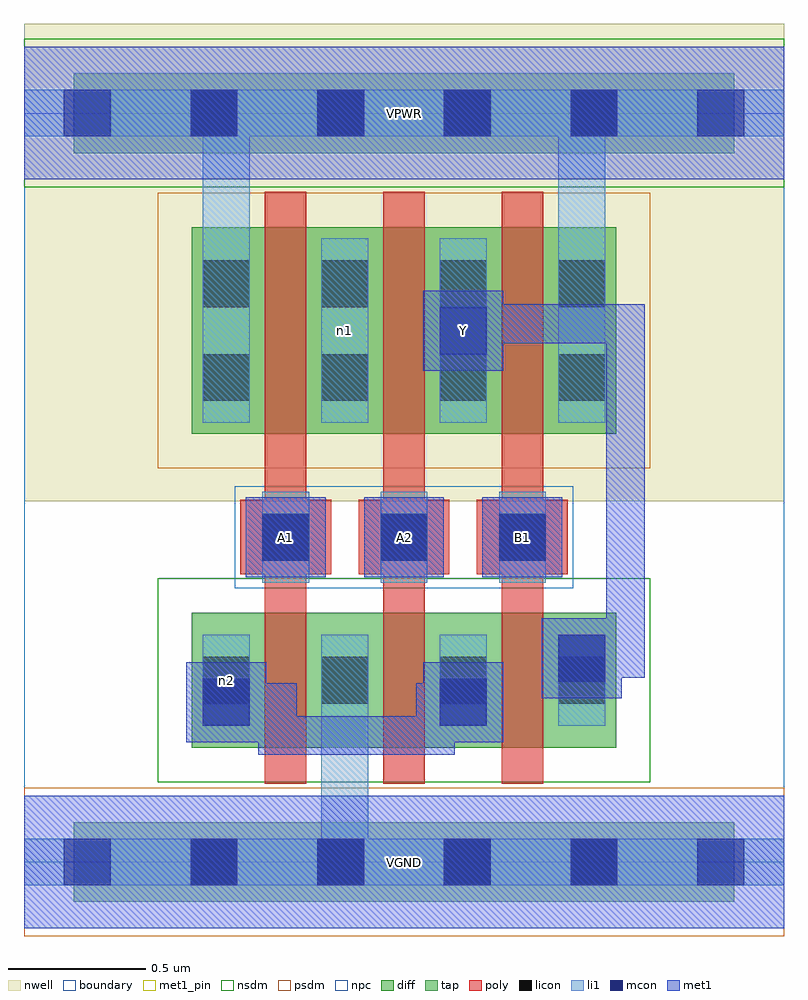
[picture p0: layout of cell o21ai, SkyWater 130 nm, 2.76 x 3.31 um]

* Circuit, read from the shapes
.subckt o21ai A1 A2 B1 VGND VPWR Y n1 n2
XM1 VGND A1 n2 VGND sky130_fd_pr__nfet_01v8 w=0.49 l=0.15
XM2 n2 A2 VGND VGND sky130_fd_pr__nfet_01v8 w=0.49 l=0.15
XM3 Y B1 n2 VGND sky130_fd_pr__nfet_01v8 w=0.49 l=0.15
XM4 n1 A1 VPWR VPWR sky130_fd_pr__pfet_01v8 w=0.75 l=0.15
XM5 Y A2 n1 VPWR sky130_fd_pr__pfet_01v8 w=0.75 l=0.15
XM6 VPWR B1 Y VPWR sky130_fd_pr__pfet_01v8 w=0.75 l=0.15
.ends

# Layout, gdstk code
import gdstk
lib = gdstk.Library(unit=1e-6, precision=1e-09)
def R(c, l, rs):  # rectangles x0, y0, x1, y1
    for r in rs: c.add(gdstk.rectangle(r[:2], r[2:], *l))
def A(c, l, x, y, w, h, nx, ny, dx, dy):  # array of equal rectangles
    R(c, l, [(x+i*dx, y+j*dy, x+i*dx+w, y+j*dy+h) for i in range(nx) for j in range(ny)])
nwell = (64, 20)
diff = (65, 20)
tap = (65, 44)
poly = (66, 20)
licon = (66, 44)
li1 = (67, 20)
mcon = (67, 44)
met1_pin = (68, 16)
met1 = (68, 20)
nsdm = (93, 44)
psdm = (94, 20)
npc = (95, 20)
boundary = (235, 4)

o21ai = lib.new_cell('o21ai')
R(o21ai, nwell, [(0,1.31,2.76,3.045)])
R(o21ai, diff, [(0.61,0.415,2.15,0.905), (0.61,1.555,2.15,2.305)])
R(o21ai, tap, [(0.18,-0.145,2.58,0.145), (0.18,2.575,2.58,2.865)])
A(o21ai, poly, 0.875, 0.285, 0.15, 2.15, 3, 1, 0.43, 0)
A(o21ai, poly, 0.785, 1.045, 0.33, 0.27, 3, 1, 0.43, 0)
A(o21ai, licon, 0.605, -0.085, 0.17, 0.17, 4, 2, 0.46, 2.72)
A(o21ai, licon, 0.65, 0.575, 0.17, 0.17, 4, 2, 0.43, 1.1)
A(o21ai, licon, 0.865, 1.095, 0.17, 0.17, 3, 1, 0.43, 0)
A(o21ai, licon, 0.65, 2.015, 0.17, 0.17, 4, 1, 0.43, 0)
A(o21ai, li1, 0.65, 0.495, 0.17, 0.33, 4, 1, 0.43, 0)
A(o21ai, li1, 0.865, 1.015, 0.17, 0.33, 3, 1, 0.43, 0)
A(o21ai, li1, 0.65, 1.595, 0.17, 0.67, 4, 1, 0.43, 0)
R(o21ai, li1, [(0,-0.085,2.76,0.085), (1.08,-0.085,1.25,0.825), (0.65,1.595,0.82,2.805), (1.94,1.595,2.11,2.805), (0,2.635,2.76,2.805)])
A(o21ai, mcon, 0.145, -0.085, 0.17, 0.17, 6, 2, 0.46, 2.72)
A(o21ai, mcon, 0.865, 1.095, 0.17, 0.17, 3, 1, 0.43, 0)
R(o21ai, mcon, [(0.65,0.495,0.82,0.665), (1.51,0.495,1.68,0.665), (1.94,0.655,2.11,0.825), (1.51,1.845,1.68,2.015)])
A(o21ai, met1_pin, 0.805, 1.035, 0.29, 0.29, 3, 1, 0.43, 0)
R(o21ai, met1_pin, [(0,-0.24,2.76,0.24), (1.45,1.785,1.74,2.075), (0,2.48,2.76,2.96)])
A(o21ai, met1, 0.805, 1.035, 0.29, 0.29, 3, 1, 0.43, 0)
R(o21ai, met1, [(0,-0.24,2.76,0.24), (0.85,0.39,0.99,0.65), (0.85,0.39,1.565,0.53), (1.425,0.39,1.565,0.65), (0.59,0.435,0.88,0.725), (1.45,0.435,1.74,0.725), (0.665,0.51,0.99,0.65), (1.425,0.51,1.665,0.65), (1.88,0.595,2.17,0.885), (1.955,0.67,2.255,0.81), (2.115,0.67,2.255,0.99), (2.115,0.85,2.255,2.025), (1.45,1.785,1.74,2.075), (1.54,1.885,2.255,2.025), (1.54,1.885,1.68,2.025), (0,2.48,2.76,2.96)])
R(o21ai, nsdm, [(0.485,0.29,2.275,1.03), (0,2.45,2.76,2.99)])
R(o21ai, psdm, [(0,-0.27,2.76,0.27), (0.485,1.43,2.275,2.43)])
R(o21ai, npc, [(0.765,0.995,1.995,1.365)])
R(o21ai, boundary, [(0,0,2.76,2.72)])
o21ai.add(gdstk.Label('n2', (0.735,0.66), layer=67, texttype=5))
o21ai.add(gdstk.Label('n1', (1.165,1.93), layer=67, texttype=5))
o21ai.add(gdstk.Label('A1', (0.95,1.18), layer=68, texttype=5))
o21ai.add(gdstk.Label('A2', (1.38,1.18), layer=68, texttype=5))
o21ai.add(gdstk.Label('B1', (1.81,1.18), layer=68, texttype=5))
o21ai.add(gdstk.Label('Y', (1.595,1.93), layer=68, texttype=5))
o21ai.add(gdstk.Label('VPWR', (1.38,2.72), layer=68, texttype=5))
o21ai.add(gdstk.Label('VGND', (1.38,0), layer=68, texttype=5))
o21ai.add(gdstk.Label('A1', (0.95,1.18), layer=68, texttype=16))
o21ai.add(gdstk.Label('A2', (1.38,1.18), layer=68, texttype=16))
o21ai.add(gdstk.Label('B1', (1.81,1.18), layer=68, texttype=16))
o21ai.add(gdstk.Label('Y', (1.595,1.93), layer=68, texttype=16))
o21ai.add(gdstk.Label('VPWR', (1.38,2.72), layer=68, texttype=16))
o21ai.add(gdstk.Label('VGND', (1.38,0), layer=68, texttype=16))

lib.write_gds('o21ai.gds')
